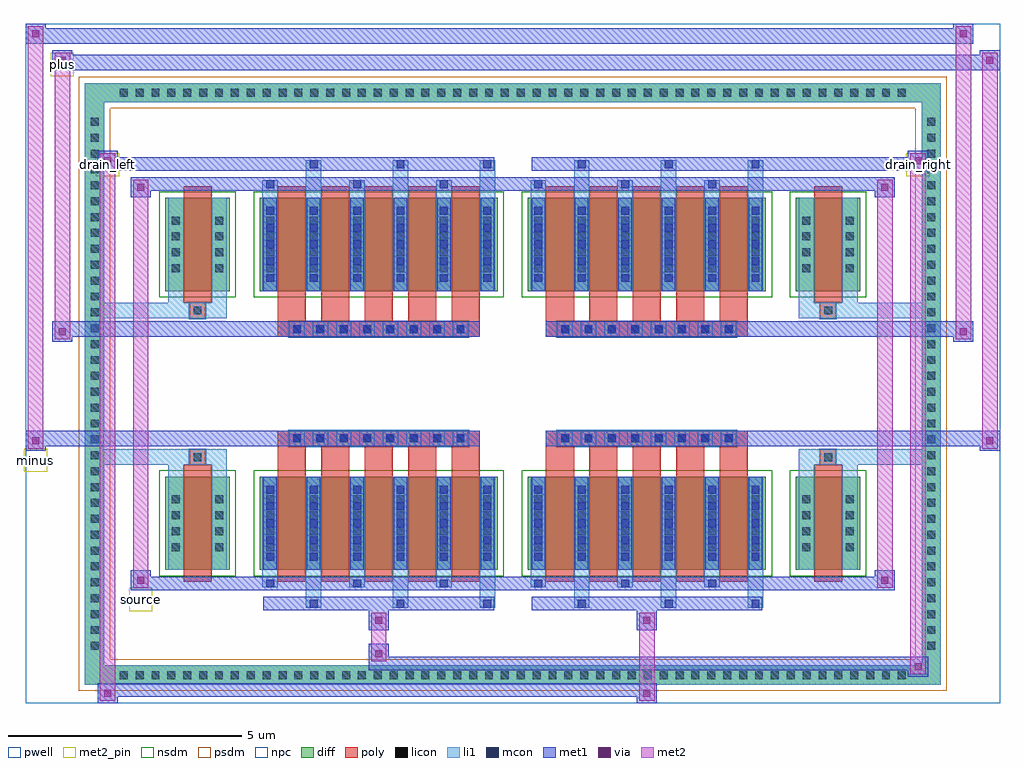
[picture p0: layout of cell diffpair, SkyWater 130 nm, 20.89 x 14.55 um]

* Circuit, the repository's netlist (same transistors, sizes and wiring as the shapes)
* NGSPICE file created from diffpair.ext - technology: sky130A

.subckt diffpair minus drain_right drain_left source plus
X0 a_n1832_n1288# a_n1832_n1288# a_n1832_n1288# a_n1832_n1288# sky130_fd_pr__nfet_01v8 ad=0.78 pd=4.78 as=6.24 ps=38.24 w=2 l=0.6
X1 a_n1832_n1288# a_n1832_n1288# a_n1832_n1288# a_n1832_n1288# sky130_fd_pr__nfet_01v8 ad=0.78 pd=4.78 as=0 ps=0 w=2 l=0.6
X2 drain_right minus source a_n1832_n1288# sky130_fd_pr__nfet_01v8 ad=0.33 pd=2.33 as=0.78 ps=4.78 w=2 l=0.6
X3 source plus drain_left a_n1832_n1288# sky130_fd_pr__nfet_01v8 ad=0.33 pd=2.33 as=0.33 ps=2.33 w=2 l=0.6
X4 drain_right minus source a_n1832_n1288# sky130_fd_pr__nfet_01v8 ad=0.78 pd=4.78 as=0.33 ps=2.33 w=2 l=0.6
X5 source minus drain_right a_n1832_n1288# sky130_fd_pr__nfet_01v8 ad=0.33 pd=2.33 as=0.33 ps=2.33 w=2 l=0.6
X6 drain_right minus source a_n1832_n1288# sky130_fd_pr__nfet_01v8 ad=0.78 pd=4.78 as=0.33 ps=2.33 w=2 l=0.6
X7 a_n1832_n1288# a_n1832_n1288# a_n1832_n1288# a_n1832_n1288# sky130_fd_pr__nfet_01v8 ad=0.78 pd=4.78 as=0 ps=0 w=2 l=0.6
X8 drain_left plus source a_n1832_n1288# sky130_fd_pr__nfet_01v8 ad=0.33 pd=2.33 as=0.33 ps=2.33 w=2 l=0.6
X9 drain_left plus source a_n1832_n1288# sky130_fd_pr__nfet_01v8 ad=0.33 pd=2.33 as=0.78 ps=4.78 w=2 l=0.6
X10 source plus drain_left a_n1832_n1288# sky130_fd_pr__nfet_01v8 ad=0.33 pd=2.33 as=0.33 ps=2.33 w=2 l=0.6
X11 source minus drain_right a_n1832_n1288# sky130_fd_pr__nfet_01v8 ad=0.33 pd=2.33 as=0.33 ps=2.33 w=2 l=0.6
X12 drain_right minus source a_n1832_n1288# sky130_fd_pr__nfet_01v8 ad=0.33 pd=2.33 as=0.33 ps=2.33 w=2 l=0.6
X13 source plus drain_left a_n1832_n1288# sky130_fd_pr__nfet_01v8 ad=0.33 pd=2.33 as=0.33 ps=2.33 w=2 l=0.6
X14 source minus drain_right a_n1832_n1288# sky130_fd_pr__nfet_01v8 ad=0.33 pd=2.33 as=0.33 ps=2.33 w=2 l=0.6
X15 drain_left plus source a_n1832_n1288# sky130_fd_pr__nfet_01v8 ad=0.33 pd=2.33 as=0.33 ps=2.33 w=2 l=0.6
X16 drain_right minus source a_n1832_n1288# sky130_fd_pr__nfet_01v8 ad=0.33 pd=2.33 as=0.78 ps=4.78 w=2 l=0.6
X17 drain_right minus source a_n1832_n1288# sky130_fd_pr__nfet_01v8 ad=0.33 pd=2.33 as=0.33 ps=2.33 w=2 l=0.6
X18 source plus drain_left a_n1832_n1288# sky130_fd_pr__nfet_01v8 ad=0.33 pd=2.33 as=0.33 ps=2.33 w=2 l=0.6
X19 drain_left plus source a_n1832_n1288# sky130_fd_pr__nfet_01v8 ad=0.78 pd=4.78 as=0.33 ps=2.33 w=2 l=0.6
X20 a_n1832_n1288# a_n1832_n1288# a_n1832_n1288# a_n1832_n1288# sky130_fd_pr__nfet_01v8 ad=0.78 pd=4.78 as=0 ps=0 w=2 l=0.6
X21 source minus drain_right a_n1832_n1288# sky130_fd_pr__nfet_01v8 ad=0.33 pd=2.33 as=0.33 ps=2.33 w=2 l=0.6
X22 drain_left plus source a_n1832_n1288# sky130_fd_pr__nfet_01v8 ad=0.33 pd=2.33 as=0.78 ps=4.78 w=2 l=0.6
X23 drain_left plus source a_n1832_n1288# sky130_fd_pr__nfet_01v8 ad=0.78 pd=4.78 as=0.33 ps=2.33 w=2 l=0.6
.ends

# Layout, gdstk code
import gdstk
lib = gdstk.Library(unit=1e-6, precision=5e-09)
def R(c, l, rs):  # rectangles x0, y0, x1, y1
    for r in rs: c.add(gdstk.rectangle(r[:2], r[2:], *l))
def A(c, l, x, y, w, h, nx, ny, dx, dy):  # array of equal rectangles
    R(c, l, [(x+i*dx, y+j*dy, x+i*dx+w, y+j*dy+h) for i in range(nx) for j in range(ny)])
def P(c, l, *ps):  # polygons
    for p in ps: c.add(gdstk.Polygon(p, *l))
pwell = (64, 44)
diff = (65, 20)
poly = (66, 20)
licon = (66, 44)
li1 = (67, 20)
mcon = (67, 44)
met1 = (68, 20)
via = (68, 44)
met2_pin = (69, 16)
met2 = (69, 20)
nsdm = (93, 44)
psdm = (94, 20)
npc = (95, 20)

diffpair = lib.new_cell('diffpair')
R(diffpair, pwell, [(-10.43,-6.84,10.43,7.71), (-7.75,-5.03,-0.01,-0.805), (0.01,-5.03,7.75,-0.805), (-7.75,0.805,-0.01,5.03), (0.01,0.805,7.75,5.03)])
A(diffpair, diff, -8.535, -6.44, 0.41, 0.41, 50, 2, 0.34, 12.47)
A(diffpair, diff, -9.16, -5.815, 0.41, 0.41, 1, 34, 0, 0.34)
A(diffpair, diff, 8.75, -5.815, 0.41, 0.41, 1, 34, 0, 0.34)
R(diffpair, diff, [(-8.535,-6.44,8.535,-6.03), (-9.16,-5.815,-8.75,5.815), (8.75,-5.815,9.16,5.815), (-7.44,-3.985,-6.06,-1.985), (-5.42,-3.985,-0.32,-1.985), (0.32,-3.985,5.42,-1.985), (6.06,-3.985,7.44,-1.985), (-7.44,1.985,-6.06,3.985), (-5.42,1.985,-0.32,3.985), (0.32,1.985,5.42,3.985), (6.06,1.985,7.44,3.985), (-8.535,6.03,8.535,6.44)])
P(diffpair, diff, [(9.16,6.44),(-9.16,6.44),(-9.16,-6.03),(-8.75,-6.03),(-8.75,6.03),(8.75,6.03),(8.75,-6.03),(-8.75,-6.03),(-9.16,-6.03),(-9.16,-6.44),(9.16,-6.44)])
A(diffpair, poly, -5.03, -4.235, 0.6, 2.5, 5, 2, 0.93, 5.97)
A(diffpair, poly, 0.71, -4.235, 0.6, 2.5, 5, 2, 0.93, 5.97)
A(diffpair, poly, -5.03, -1.735, 0.6, 0.4, 5, 2, 0.93, 3.07)
A(diffpair, poly, 0.71, -1.735, 0.6, 0.4, 5, 2, 0.93, 3.07)
A(diffpair, poly, -4.785, -1.335, 0.33, 0.33, 8, 2, 0.5, 2.34)
A(diffpair, poly, 0.955, -1.335, 0.33, 0.33, 8, 2, 0.5, 2.34)
R(diffpair, poly, [(-7.05,-4.235,-6.45,-1.735), (6.45,-4.235,7.05,-1.735), (-6.915,-1.735,-6.585,-1.405), (-6.915,-1.735,-6.585,-1.405), (6.585,-1.735,6.915,-1.405), (6.585,-1.735,6.915,-1.405), (-5.03,-1.335,-0.71,-1.005), (0.71,-1.335,5.03,-1.005), (-5.03,1.005,-0.71,1.335), (0.71,1.005,5.03,1.335), (-6.915,1.405,-6.585,1.735), (-6.915,1.405,-6.585,1.735), (6.585,1.405,6.915,1.735), (6.585,1.405,6.915,1.735), (-7.05,1.735,-6.45,4.235), (6.45,1.735,7.05,4.235)])
A(diffpair, licon, -8.415, -6.32, 0.17, 0.17, 50, 2, 0.34, 12.47)
A(diffpair, licon, -9.04, -5.695, 0.17, 0.17, 1, 34, 0, 0.34)
A(diffpair, licon, 8.87, -5.695, 0.17, 0.17, 1, 34, 0, 0.34)
A(diffpair, licon, -7.3, -3.58, 0.17, 0.17, 1, 4, 0, 0.34)
A(diffpair, licon, -6.37, -3.58, 0.17, 0.17, 1, 4, 0, 0.34)
A(diffpair, licon, -5.28, -3.58, 0.17, 0.17, 6, 4, 0.93, 0.34)
A(diffpair, licon, 0.46, -3.58, 0.17, 0.17, 6, 4, 0.93, 0.34)
A(diffpair, licon, 6.2, -3.58, 0.17, 0.17, 1, 4, 0, 0.34)
A(diffpair, licon, 7.13, -3.58, 0.17, 0.17, 1, 4, 0, 0.34)
A(diffpair, licon, -4.705, -1.255, 0.17, 0.17, 8, 2, 0.5, 2.34)
A(diffpair, licon, 1.035, -1.255, 0.17, 0.17, 8, 2, 0.5, 2.34)
A(diffpair, licon, -7.3, 2.39, 0.17, 0.17, 1, 4, 0, 0.34)
A(diffpair, licon, -6.37, 2.39, 0.17, 0.17, 1, 4, 0, 0.34)
A(diffpair, licon, -5.28, 2.39, 0.17, 0.17, 6, 4, 0.93, 0.34)
A(diffpair, licon, 0.46, 2.39, 0.17, 0.17, 6, 4, 0.93, 0.34)
A(diffpair, licon, 6.2, 2.39, 0.17, 0.17, 1, 4, 0, 0.34)
A(diffpair, licon, 7.13, 2.39, 0.17, 0.17, 1, 4, 0, 0.34)
R(diffpair, licon, [(-6.835,-1.655,-6.665,-1.485), (6.665,-1.655,6.835,-1.485), (-6.835,1.485,-6.665,1.655), (6.665,1.485,6.835,1.655)])
A(diffpair, li1, -8.495, -6.4, 0.33, 0.33, 50, 2, 0.34, 12.47)
A(diffpair, li1, -9.12, -5.775, 0.33, 0.33, 1, 34, 0, 0.34)
A(diffpair, li1, 8.79, -5.775, 0.33, 0.33, 1, 34, 0, 0.34)
A(diffpair, li1, -4.43, -4.79, 0.33, 0.805, 3, 2, 1.86, 8.775)
A(diffpair, li1, -4.35, -4.79, 0.17, 0.17, 3, 2, 1.86, 9.41)
A(diffpair, li1, 1.31, -4.79, 0.33, 0.805, 3, 2, 1.86, 8.775)
A(diffpair, li1, 1.39, -4.79, 0.17, 0.17, 3, 2, 1.86, 9.41)
A(diffpair, li1, -5.36, -4.36, 0.33, 0.375, 3, 2, 1.86, 8.345)
A(diffpair, li1, -5.28, -4.36, 0.17, 0.17, 3, 2, 1.86, 8.55)
A(diffpair, li1, 0.38, -4.36, 0.33, 0.375, 3, 2, 1.86, 8.345)
A(diffpair, li1, 0.46, -4.36, 0.17, 0.17, 3, 2, 1.86, 8.55)
A(diffpair, li1, -5.36, -3.985, 0.33, 2, 6, 2, 0.93, 5.97)
A(diffpair, li1, 0.38, -3.985, 0.33, 2, 6, 2, 0.93, 5.97)
A(diffpair, li1, -5.28, -3.79, 0.17, 0.17, 6, 5, 0.93, 0.36)
A(diffpair, li1, -5.28, -3.79, 0.17, 1.61, 6, 2, 0.93, 5.97)
A(diffpair, li1, 0.46, -3.79, 0.17, 0.17, 6, 5, 0.93, 0.36)
A(diffpair, li1, 0.46, -3.79, 0.17, 1.61, 6, 2, 0.93, 5.97)
A(diffpair, li1, -7.38, -3.66, 0.33, 0.33, 1, 4, 0, 0.34)
A(diffpair, li1, -6.45, -3.66, 0.33, 0.33, 1, 4, 0, 0.34)
A(diffpair, li1, -5.36, -3.66, 0.33, 0.33, 6, 4, 0.93, 0.34)
A(diffpair, li1, 0.38, -3.66, 0.33, 0.33, 6, 4, 0.93, 0.34)
A(diffpair, li1, 6.12, -3.66, 0.33, 0.33, 1, 4, 0, 0.34)
A(diffpair, li1, 7.05, -3.66, 0.33, 0.33, 1, 4, 0, 0.34)
A(diffpair, li1, -4.785, -1.335, 0.33, 0.33, 8, 2, 0.5, 2.34)
A(diffpair, li1, 0.955, -1.335, 0.33, 0.33, 8, 2, 0.5, 2.34)
A(diffpair, li1, -5.28, 2.18, 0.17, 0.17, 6, 5, 0.93, 0.36)
A(diffpair, li1, 0.46, 2.18, 0.17, 0.17, 6, 5, 0.93, 0.36)
A(diffpair, li1, -7.38, 2.31, 0.33, 0.33, 1, 4, 0, 0.34)
A(diffpair, li1, -6.45, 2.31, 0.33, 0.33, 1, 4, 0, 0.34)
A(diffpair, li1, -5.36, 2.31, 0.33, 0.33, 6, 4, 0.93, 0.34)
A(diffpair, li1, 0.38, 2.31, 0.33, 0.33, 6, 4, 0.93, 0.34)
A(diffpair, li1, 6.12, 2.31, 0.33, 0.33, 1, 4, 0, 0.34)
A(diffpair, li1, 7.05, 2.31, 0.33, 0.33, 1, 4, 0, 0.34)
R(diffpair, li1, [(-9.16,-6.44,-8.75,-6.03), (-9.16,-6.44,-8.75,-6.03), (-8.75,-6.44,8.75,-6.03), (8.75,-6.44,9.16,-6.03), (8.75,-6.44,9.16,-6.03), (-9.16,-6.03,-8.75,6.03), (8.75,-6.03,9.16,6.03), (-7.38,-3.985,-7.05,-1.985), (-6.45,-3.985,-6.12,-1.985), (6.12,-3.985,6.45,-1.985), (7.05,-3.985,7.38,-1.985), (-7.38,-1.985,-7.05,-1.405), (-6.45,-1.985,-6.12,-1.405), (6.12,-1.985,6.45,-1.405), (7.05,-1.985,7.38,-1.405), (-9.16,-1.735,-6.915,-1.405), (-7.38,-1.735,-6.915,-1.405), (-6.915,-1.735,-6.585,-1.405), (-6.585,-1.735,-6.12,-1.405), (6.12,-1.735,6.585,-1.405), (6.585,-1.735,6.915,-1.405), (6.585,-1.735,9.16,-1.405), (6.915,-1.735,7.38,-1.405), (-9.16,1.405,-6.915,1.735), (-7.38,1.405,-6.915,1.735), (-7.38,1.405,-7.05,1.985), (-6.915,1.405,-6.585,1.735), (-6.585,1.405,-6.12,1.735), (-6.45,1.405,-6.12,1.985), (6.12,1.405,6.585,1.735), (6.12,1.405,6.45,1.985), (6.585,1.405,6.915,1.735), (6.585,1.405,9.16,1.735), (6.915,1.405,7.38,1.735), (7.05,1.405,7.38,1.985), (-7.38,1.985,-7.05,3.985), (-6.45,1.985,-6.12,3.985), (6.12,1.985,6.45,3.985), (7.05,1.985,7.38,3.985), (-9.16,6.03,-8.75,6.44), (-9.16,6.03,-8.75,6.44), (-8.75,6.03,8.75,6.44), (8.75,6.03,9.16,6.44), (8.75,6.03,9.16,6.44)])
A(diffpair, mcon, -4.35, -4.79, 0.17, 0.17, 3, 2, 1.86, 9.41)
A(diffpair, mcon, 1.39, -4.79, 0.17, 0.17, 3, 2, 1.86, 9.41)
A(diffpair, mcon, -5.28, -4.36, 0.17, 0.17, 3, 2, 1.86, 8.55)
A(diffpair, mcon, 0.46, -4.36, 0.17, 0.17, 3, 2, 1.86, 8.55)
A(diffpair, mcon, -5.28, -3.79, 0.17, 0.17, 6, 5, 0.93, 0.36)
A(diffpair, mcon, 0.46, -3.79, 0.17, 0.17, 6, 5, 0.93, 0.36)
A(diffpair, mcon, -4.705, -1.255, 0.17, 0.17, 8, 2, 0.5, 2.34)
A(diffpair, mcon, 1.035, -1.255, 0.17, 0.17, 8, 2, 0.5, 2.34)
A(diffpair, mcon, -5.28, 2.18, 0.17, 0.17, 6, 5, 0.93, 0.36)
A(diffpair, mcon, 0.46, 2.18, 0.17, 0.17, 6, 5, 0.93, 0.36)
A(diffpair, met1, -4.41, -4.85, 0.29, 0.29, 3, 2, 1.86, 9.41)
A(diffpair, met1, 1.33, -4.85, 0.29, 0.29, 3, 2, 1.86, 9.41)
A(diffpair, met1, -5.34, -4.42, 0.29, 0.29, 3, 2, 1.86, 8.55)
A(diffpair, met1, 0.4, -4.42, 0.29, 0.29, 3, 2, 1.86, 8.55)
A(diffpair, met1, -5.34, -3.985, 0.29, 2, 6, 2, 0.93, 5.97)
A(diffpair, met1, 0.4, -3.985, 0.29, 2, 6, 2, 0.93, 5.97)
A(diffpair, met1, -5.34, -3.85, 0.29, 0.29, 6, 5, 0.93, 0.36)
A(diffpair, met1, 0.4, -3.85, 0.29, 0.29, 6, 5, 0.93, 0.36)
A(diffpair, met1, -4.765, -1.315, 0.29, 0.29, 8, 2, 0.5, 2.34)
A(diffpair, met1, 0.975, -1.315, 0.29, 0.29, 8, 2, 0.5, 2.34)
A(diffpair, met1, -5.34, 2.12, 0.29, 0.29, 6, 5, 0.93, 0.36)
A(diffpair, met1, 0.4, 2.12, 0.29, 0.29, 6, 5, 0.93, 0.36)
R(diffpair, met1, [(-8.89,-6.84,-8.46,-6.41), (2.655,-6.84,3.085,-6.41), (-8.89,-6.7,3.085,-6.41), (8.46,-6.27,8.89,-5.84), (-3.085,-6.13,8.89,-5.84), (-3.085,-5.99,-2.655,-5.56), (-3.085,-5.28,-2.655,-4.85), (2.655,-5.28,3.085,-4.85), (-5.34,-4.85,-0.4,-4.56), (0.4,-4.85,5.34,-4.56), (-8.18,-4.42,-7.75,-3.99), (-8.18,-4.42,-5.34,-4.13), (-5.34,-4.42,-0.4,-4.13), (-0.4,-4.42,0.4,-4.13), (0.4,-4.42,5.34,-4.13), (5.34,-4.42,8.18,-4.13), (7.75,-4.42,8.18,-3.99), (-10.43,-1.435,-10,-1.005), (10,-1.435,10.43,-1.005), (-10.43,-1.335,-0.71,-1.005), (-5.03,-1.335,-0.71,-1.005), (0.71,-1.335,5.03,-1.005), (0.71,-1.335,10.43,-1.005), (-9.86,0.905,-9.43,1.335), (9.43,0.905,9.86,1.335), (-9.86,1.005,-5.03,1.335), (-5.03,1.005,-0.71,1.335), (0.71,1.005,5.03,1.335), (5.03,1.005,9.86,1.335), (-8.18,3.99,-7.75,4.42), (7.75,3.99,8.18,4.42), (-8.18,4.13,-5.34,4.42), (-5.34,4.13,-0.4,4.42), (-0.4,4.13,0.4,4.42), (0.4,4.13,5.34,4.42), (5.34,4.13,8.18,4.42), (-8.89,4.56,-8.46,4.99), (-8.89,4.56,-5.34,4.85), (-5.34,4.56,-0.4,4.85), (0.4,4.56,5.34,4.85), (5.34,4.56,8.89,4.85), (8.46,4.56,8.89,4.99), (-9.86,6.71,-9.43,7.14), (-9.86,6.71,-7.75,7.04), (-7.75,6.71,7.75,7.04), (7.75,6.71,10.43,7.04), (10,6.71,10.43,7.14), (-10.43,7.28,-10,7.71), (-10.43,7.28,-7.75,7.61), (-7.75,7.28,7.75,7.61), (7.75,7.28,9.86,7.61), (9.43,7.28,9.86,7.71)])
R(diffpair, via, [(-8.75,-6.7,-8.6,-6.55), (2.795,-6.7,2.945,-6.55), (8.6,-6.13,8.75,-5.98), (-2.945,-5.85,-2.795,-5.7), (-2.945,-5.14,-2.795,-4.99), (2.795,-5.14,2.945,-4.99), (-8.04,-4.28,-7.89,-4.13), (7.89,-4.28,8.04,-4.13), (-10.29,-1.295,-10.14,-1.145), (10.14,-1.295,10.29,-1.145), (-9.72,1.045,-9.57,1.195), (9.57,1.045,9.72,1.195), (-8.04,4.13,-7.89,4.28), (7.89,4.13,8.04,4.28), (-8.75,4.7,-8.6,4.85), (8.6,4.7,8.75,4.85), (-9.72,6.85,-9.57,7), (10.14,6.85,10.29,7), (-10.29,7.42,-10.14,7.57), (9.57,7.42,9.72,7.57)])
R(diffpair, met2_pin, [(-8.215,-4.87,-7.715,-4.37), (-10.465,-1.885,-9.965,-1.385), (-8.925,4.44,-8.425,4.94), (8.425,4.44,8.925,4.94), (-9.895,6.59,-9.395,7.09)])
R(diffpair, met2, [(-8.84,-6.79,-8.51,-6.46), (-8.84,-6.79,-8.51,4.94), (2.705,-6.79,3.035,-6.46), (2.705,-6.46,3.035,-5.23), (8.51,-6.22,8.84,-5.89), (8.51,-6.22,8.84,4.94), (-3.035,-5.94,-2.705,-5.61), (-3.035,-5.61,-2.705,-5.23), (-3.035,-5.23,-2.705,-4.9), (2.705,-5.23,3.035,-4.9), (-8.13,-4.37,-7.8,-4.04), (-8.13,-4.37,-7.8,4.37), (7.8,-4.37,8.13,-4.04), (7.8,-4.37,8.13,4.37), (-10.38,-1.385,-10.05,-1.055), (-10.38,-1.385,-10.05,7.66), (10.05,-1.385,10.38,-1.055), (10.05,-1.385,10.38,7.09), (-9.81,0.955,-9.48,1.285), (-9.81,0.955,-9.48,7.09), (9.48,0.955,9.81,1.285), (9.48,0.955,9.81,7.66), (-8.13,4.04,-7.8,4.37), (7.8,4.04,8.13,4.37), (-8.84,4.61,-8.51,4.94), (8.51,4.61,8.84,4.94), (-9.81,6.76,-9.48,7.09), (10.05,6.76,10.38,7.09), (-10.38,7.33,-10.05,7.66), (9.48,7.33,9.81,7.66)])
P(diffpair, met2, [(10.38,-1.385),(10.38,-1.385),(10.38,-1.055),(10.38,-1.055)],
  [(10.38,6.76),(10.38,6.76),(10.38,7.09),(10.38,7.09)],
  [(-10.05,-1.385),(-10.05,-1.385),(-10.05,-1.055),(-10.05,-1.055)],
  [(-10.05,7.33),(-10.05,7.33),(-10.05,7.66),(-10.05,7.66)],
  [(9.81,0.955),(9.81,0.955),(9.81,1.285),(9.81,1.285)],
  [(9.81,7.33),(9.81,7.33),(9.81,7.66),(9.81,7.66)],
  [(-9.48,0.955),(-9.48,0.955),(-9.48,1.285),(-9.48,1.285)],
  [(-9.48,6.76),(-9.48,6.76),(-9.48,7.09),(-9.48,7.09)],
  [(-8.51,-6.79),(-8.51,-6.79),(-8.51,-6.46),(-8.51,-6.46)],
  [(-8.51,4.61),(-8.51,4.61),(-8.51,4.94),(-8.51,4.94)],
  [(8.84,-6.22),(8.84,-6.22),(8.84,-5.89),(8.84,-5.89)],
  [(8.84,4.61),(8.84,4.61),(8.84,4.94),(8.84,4.94)],
  [(-7.8,-4.37),(-7.8,-4.37),(-7.8,-4.04),(-7.8,-4.04)],
  [(-7.8,4.04),(-7.8,4.04),(-7.8,4.37),(-7.8,4.37)],
  [(8.13,-4.37),(8.13,-4.37),(8.13,-4.04),(8.13,-4.04)],
  [(8.13,4.04),(8.13,4.04),(8.13,4.37),(8.13,4.37)])
R(diffpair, nsdm, [(-7.57,-4.115,-5.93,-1.855), (-5.55,-4.115,-0.19,-1.855), (0.19,-4.115,5.55,-1.855), (5.93,-4.115,7.57,-1.855), (-7.57,1.855,-5.93,4.115), (-5.55,1.855,-0.19,4.115), (0.19,1.855,5.55,4.115), (5.93,1.855,7.57,4.115)])
P(diffpair, psdm, [(9.29,6.57),(-9.29,6.57),(-9.29,-5.9),(-8.62,-5.9),(-8.62,5.9),(8.62,5.9),(8.62,-5.9),(-8.62,-5.9),(-9.29,-5.9),(-9.29,-6.57),(9.29,-6.57)])
A(diffpair, npc, -4.805, -1.355, 0.37, 0.37, 8, 2, 0.5, 2.34)
A(diffpair, npc, 0.935, -1.355, 0.37, 0.37, 8, 2, 0.5, 2.34)
R(diffpair, npc, [(-6.935,-1.755,-6.565,-1.385), (6.565,-1.755,6.935,-1.385), (-4.805,-1.355,-3.935,-0.985), (-4.805,-1.355,-3.935,-0.985), (-4.305,-1.355,-3.435,-0.985), (-4.305,-1.355,-3.435,-0.985), (-3.805,-1.355,-2.935,-0.985), (-3.805,-1.355,-2.935,-0.985), (-3.305,-1.355,-2.435,-0.985), (-3.305,-1.355,-2.435,-0.985), (-2.805,-1.355,-1.935,-0.985), (-2.805,-1.355,-1.935,-0.985), (-2.305,-1.355,-1.435,-0.985), (-2.305,-1.355,-1.435,-0.985), (-1.805,-1.355,-0.935,-0.985), (-1.805,-1.355,-0.935,-0.985), (0.935,-1.355,1.805,-0.985), (0.935,-1.355,1.805,-0.985), (1.435,-1.355,2.305,-0.985), (1.435,-1.355,2.305,-0.985), (1.935,-1.355,2.805,-0.985), (1.935,-1.355,2.805,-0.985), (2.435,-1.355,3.305,-0.985), (2.435,-1.355,3.305,-0.985), (2.935,-1.355,3.805,-0.985), (2.935,-1.355,3.805,-0.985), (3.435,-1.355,4.305,-0.985), (3.435,-1.355,4.305,-0.985), (3.935,-1.355,4.805,-0.985), (3.935,-1.355,4.805,-0.985), (-4.805,0.985,-3.935,1.355), (-4.805,0.985,-3.935,1.355), (-4.305,0.985,-3.435,1.355), (-4.305,0.985,-3.435,1.355), (-3.805,0.985,-2.935,1.355), (-3.805,0.985,-2.935,1.355), (-3.305,0.985,-2.435,1.355), (-3.305,0.985,-2.435,1.355), (-2.805,0.985,-1.935,1.355), (-2.805,0.985,-1.935,1.355), (-2.305,0.985,-1.435,1.355), (-2.305,0.985,-1.435,1.355), (-1.805,0.985,-0.935,1.355), (-1.805,0.985,-0.935,1.355), (0.935,0.985,1.805,1.355), (0.935,0.985,1.805,1.355), (1.435,0.985,2.305,1.355), (1.435,0.985,2.305,1.355), (1.935,0.985,2.805,1.355), (1.935,0.985,2.805,1.355), (2.435,0.985,3.305,1.355), (2.435,0.985,3.305,1.355), (2.935,0.985,3.805,1.355), (2.935,0.985,3.805,1.355), (3.435,0.985,4.305,1.355), (3.435,0.985,4.305,1.355), (3.935,0.985,4.805,1.355), (3.935,0.985,4.805,1.355), (-6.935,1.385,-6.565,1.755), (6.565,1.385,6.935,1.755)])
diffpair.add(gdstk.Label('minus', (-10.215,-1.635), layer=69, texttype=5))
diffpair.add(gdstk.Label('drain_right', (8.675,4.69), layer=69, texttype=5))
diffpair.add(gdstk.Label('drain_left', (-8.675,4.69), layer=69, texttype=5))
diffpair.add(gdstk.Label('source', (-7.965,-4.62), layer=69, texttype=5))
diffpair.add(gdstk.Label('plus', (-9.645,6.84), layer=69, texttype=5))

lib.write_gds('diffpair.gds')
